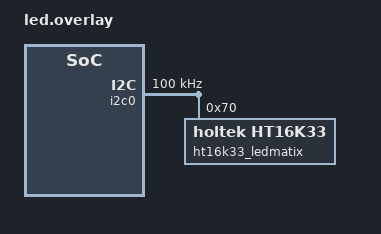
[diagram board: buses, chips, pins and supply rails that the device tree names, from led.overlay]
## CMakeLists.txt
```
cmake_minimum_required(VERSION 3.20.0)

find_package(Zephyr REQUIRED HINTS $ENV{ZEPHYR_BASE})

project(final)

FILE(GLOB app_sources src/*.c)
# NORDIC SDK APP START
target_sources(app  PRIVATE ${app_sources})
# NORDIC SDK APP END

zephyr_library_include_directories(
  src/servo src/ble_uart src/nfc src/buzzer src/pir src/led src/btn)

add_subdirectory(src/servo)
add_subdirectory(src/ble_uart)
add_subdirectory(src/nfc)
add_subdirectory(src/buzzer)
add_subdirectory(src/pir)
add_subdirectory(src/led)
add_subdirectory(src/btn)
```

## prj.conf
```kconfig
#
# Copyright (c) 2019 Nordic Semiconductor ASA
#
# SPDX-License-Identifier: LicenseRef-Nordic-5-Clause
#
CONFIG_NCS_SAMPLES_DEFAULTS=y

CONFIG_REBOOT=y

# Enable DK LED and Buttons library
CONFIG_DK_LIBRARY=y

CONFIG_NFC_T2T_NRFXLIB=y

CONFIG_NFC_NDEF=y
CONFIG_NFC_NDEF_MSG=y
CONFIG_NFC_NDEF_RECORD=y
CONFIG_NFC_NDEF_TEXT_RECORD=y


# Enable the UART driver
CONFIG_UART_ASYNC_API=y
CONFIG_NRFX_UARTE0=y
CONFIG_SERIAL=y

# Make sure printk is printing to the UART console
CONFIG_CONSOLE=y
CONFIG_UART_CONSOLE=y

CONFIG_HEAP_MEM_POOL_SIZE=2048

CONFIG_BT=y
CONFIG_BT_PERIPHERAL=y
CONFIG_BT_DEVICE_NAME="Final_Project"
CONFIG_BT_DEVICE_APPEARANCE=833
CONFIG_BT_MAX_CONN=1
CONFIG_BT_MAX_PAIRED=1

# Enable the NUS service
CONFIG_BT_NUS=y

# Enable bonding
CONFIG_BT_SETTINGS=y
CONFIG_FLASH=y
CONFIG_FLASH_PAGE_LAYOUT=y
CONFIG_FLASH_MAP=y
CONFIG_NVS=y
CONFIG_SETTINGS=y

# This example requires more stack
CONFIG_MAIN_STACK_SIZE=1152
CONFIG_SYSTEM_WORKQUEUE_STACK_SIZE=2048

# Config logger
CONFIG_LOG=y
CONFIG_USE_SEGGER_RTT=y
CONFIG_LOG_BACKEND_RTT=y
CONFIG_LOG_BACKEND_UART=n
CONFIG_LOG_PRINTK=n

CONFIG_ASSERT=y

# Config CO2
# CONFIG_UART_INTERRUPT_DRIVEN=y

# Enable logging
CONFIG_LOG_DEFAULT_LEVEL=3

# servo
#Logging configurations
CONFIG_LOG=y
CONFIG_PWM_LOG_LEVEL_DBG=y
CONFIG_LOG_MODE_IMMEDIATE=y
CONFIG_STDOUT_CONSOLE=y
CONFIG_PRINTK=y

# PWM and LED configurations
CONFIG_PWM=y
CONFIG_LED=y
CONFIG_LED_PWM=y

# DK Buttons and LEDs library
CONFIG_DK_LIBRARY=y

# GPIO configurations
CONFIG_GPIO=y

CONFIG_LOG=y
CONFIG_I2C=y
CONFIG_LED=y
CONFIG_KSCAN=y
CONFIG_KSCAN_INIT_PRIORITY=95
CONFIG_HT16K33_KEYSCAN=y

CONFIG_PWM_NRFX=y
```

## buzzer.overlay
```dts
/ {
    pwmleds {
        status = "okay";
        compatible = "pwm-leds";
        pwm_led0: pwm_led_0 {
            pwms = <&pwm0 0 PWM_MSEC(20) PWM_POLARITY_NORMAL>;
        };
    };
};

&pwm0 {
    status = "okay";
    pinctrl-0 = <&pwm0_default>;
    pinctrl-1 = <&pwm0_sleep>;
    pinctrl-names = "default", "sleep";
};

&pwm0_default {
    status = "okay";
    group1 {
        psels = <NRF_PSEL(PWM_OUT0, 0, 24)>;
        bias-pull-up;
    };
};

&pwm0_sleep {
    status = "okay";
    group1 {
        psels = <NRF_PSEL(PWM_OUT0, 0, 24)>;
        low-power-enable;
    };
};
```

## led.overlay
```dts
&i2c0 {
  clock-frequency = <I2C_BITRATE_STANDARD>;
  status = "okay";
  ht16k33_ledmatix: ht16k33@70 {

    compatible = "holtek,ht16k33";
    reg = <0x70>;
    /* Uncomment to use IRQ instead of polling: */
    /* irq-gpios = <&gpio1 8 (GPIO_PULL_UP | GPIO_ACTIVE_LOW)>; */

    keyscan {
      compatible = "holtek,ht16k33-keyscan";
    };
  };
};
```

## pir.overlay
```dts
// * Enabling / disabling the node
// * Adding the bus to a bus
// * Removing the node
// * Connecting ADC channels

// For more help, browse the DeviceTree documentation at https://docs.zephyrproject.org/latest/guides/dts/index.html
// You can also visit the nRF DeviceTree extension documentation at https://nrfconnect.github.io/vscode-nrf-connect/devicetree/nrfdevicetree.html

/ {
    buttons {
      compatible = "gpio-keys";
      status = "okay";
      button3: button_3 {
        gpios = <&gpio1 7 (GPIO_PULL_UP | GPIO_ACTIVE_LOW)>;
        label = "BUTTON_3";
        zephyr,code = <INPUT_KEY_3>;
		};
    };
};
```

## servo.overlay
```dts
/* STEP 5.2 - Add the servo device  */
/ {
  chosen {
    nordic,nus-uart = &uart0;
  };
  

    servo: servo {
        compatible = "pwm-servo";
        pwms = <&pwm1 0 PWM_MSEC(20) PWM_POLARITY_NORMAL>;
        min_pulse = <PWM_USEC(500)>;
        max_pulse = <PWM_USEC(3000)>;
    };

};

/* STEP 5.3 - Configure which pins pwm1 should use */
&pwm1 {
    status = "okay";
    pinctrl-0 = <&pwm1_custom_motor>;
    pinctrl-1 = <&pwm1_csleep_motor>;
    pinctrl-names = "default", "sleep";
};

&pinctrl {
    pwm1_custom_motor: pwm1_custom_motor {
        group1 {
            psels = <NRF_PSEL(PWM_OUT0, 0, 13)>;
            nordic,invert;
        };
    };

    pwm1_csleep_motor: pwm1_csleep_motor {
        group1 {
            psels = <NRF_PSEL(PWM_OUT0, 0, 13)>;
            low-power-enable;
        };
    };
};  

// 	servo: servo {
// 		compatible = "pwm_servo";
// 		pwms = <&sw_pwm 0 PWM_MSEC(20) PWM_POLARITY_NORMAL>;
// 		min_pulse = <PWM_USEC(700)>;
// 		max_pulse = <PWM_USEC(3000)>;
// 	};
// };

// &sw_pwm {
//   status = "okay";
//   clock-prescaler = <4>;
//   channel-gpios = <&gpio0 13 GPIO_ACTIVE_HIGH>;
// };

&gpio0 {
  gpio-line-names = "P0.0", "P0.1", "P0.2", "P0.3",
                    "P0.4", "P0.5", "P0.6", "P0.7",
                    "P0.8", "P0.9", "P0.10", "P0.11",
                    "P0.12", "P0.13", "P0.14", "P0.15",
                    "P0.16", "P0.17", "P0.18", "P0.19",
                    "P0.20", "P0.21", "P0.22", "P0.23",
                    "P0.24", "P0.25", "P0.26", "P0.27",
                    "P0.28", "P0.29", "P0.30", "P0.31";
  status = "okay";
};

// &pinctrl {
//   pwm1_custom_motor: pwm1_custom_motor {
//       group1 {
//           psels = <NRF_PSEL(PWM_OUT1, 0, 13)>;
//           nordic,invert;
//       };
//   };

//   pwm1_csleep_motor: pwm1_csleep_motor {
//       group1 {
//           psels = <NRF_PSEL(PWM_OUT1, 0, 13)>;
//           low-power-enable;
//       };
//   };
// };
```

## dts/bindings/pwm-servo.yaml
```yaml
# Copyright (c) 2022 Nordic Semiconductor ASA
# SPDX-License-Identifier: Apache-2.0

# STEP 5.1 - Create a device binding for the servo

description: PWM-driven servo motor.

compatible: "pwm-servo"

include: base.yaml

properties:
  pwms:
    required: true
    type: phandle-array
    description: PWM specifier driving the servo motor.

  min_pulse:
    required: true
    type: int
    description: Minimum pulse width (nanoseconds).

  max_pulse:
    required: true
    type: int
    description: Maximum pulse width (nanoseconds).
  
```

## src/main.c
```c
/*
 * Copyright (c) 2018 Nordic Semiconductor ASA
 *
 * SPDX-License-Identifier: LicenseRef-Nordic-5-Clause
 */

#include <zephyr/kernel.h>
#include <zephyr/sys/reboot.h>

int main(void)
{
	printk("Starting Final Project\n");

	initBTN();

	initLED();

	initBuzzer();

	initNFC();

	initPIR();

	initBleUART();

	initServo();

	return 0;
}
```
